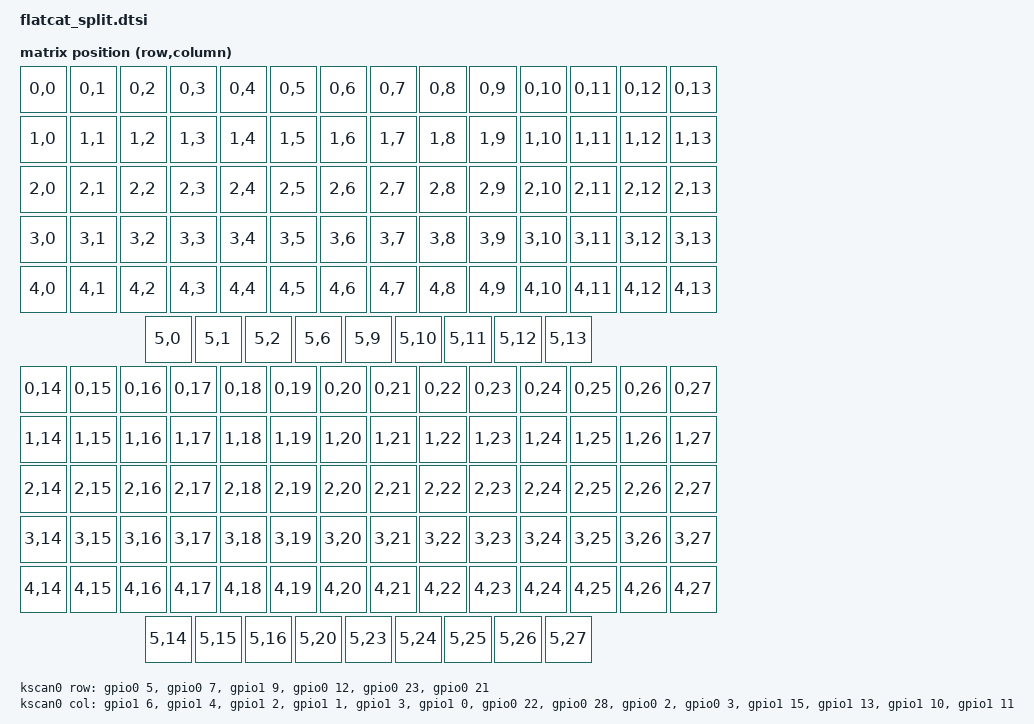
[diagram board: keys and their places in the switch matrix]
#include <dt-bindings/zmk/matrix_transform.h>
#include <physical_layouts.dtsi>
#include <dt-bindings/led/led.h>
#include <zephyr/dt-bindings/gpio/gpio.h>

/ {
    chosen {
        zmk,kscan     = &kscan0;
        zmk,underglow = &led_strip;
        zmk,battery   = &vbatt;
    };

    /* GPIO regulator powering the WS2812 strip (P0.29) — same on both halves. */
    rgb_pro_pwr: rgb_pro_pwr {
        compatible     = "regulator-fixed";
        regulator-name = "rgb_pro_pwr";
        enable-gpios   = <&gpio0 29 GPIO_ACTIVE_LOW>;
        regulator-boot-on;
    };

    kscan0: kscan {
        compatible      = "zmk,kscan-gpio-matrix";
        diode-direction = "col2row";
        wakeup-source;

        row-gpios
            = <&gpio0 5  (GPIO_ACTIVE_HIGH | GPIO_PULL_DOWN)>
            , <&gpio0 7  (GPIO_ACTIVE_HIGH | GPIO_PULL_DOWN)>
            , <&gpio1 9  (GPIO_ACTIVE_HIGH | GPIO_PULL_DOWN)>
            , <&gpio0 12 (GPIO_ACTIVE_HIGH | GPIO_PULL_DOWN)>
            , <&gpio0 23 (GPIO_ACTIVE_HIGH | GPIO_PULL_DOWN)>
            , <&gpio0 21 (GPIO_ACTIVE_HIGH | GPIO_PULL_DOWN)>
            ;

        col-gpios
            = <&gpio1 6  GPIO_ACTIVE_HIGH>
            , <&gpio1 4  GPIO_ACTIVE_HIGH>
            , <&gpio1 2  GPIO_ACTIVE_HIGH>
            , <&gpio1 1  GPIO_ACTIVE_HIGH>
            , <&gpio1 3  GPIO_ACTIVE_HIGH>
            , <&gpio1 0  GPIO_ACTIVE_HIGH>
            , <&gpio0 22 GPIO_ACTIVE_HIGH>
            , <&gpio0 28 GPIO_ACTIVE_HIGH>
            , <&gpio0 2  GPIO_ACTIVE_HIGH>
            , <&gpio0 3  GPIO_ACTIVE_HIGH>
            , <&gpio1 15 GPIO_ACTIVE_HIGH>
            , <&gpio1 13 GPIO_ACTIVE_HIGH>
            , <&gpio1 10 GPIO_ACTIVE_HIGH>
            , <&gpio1 11 GPIO_ACTIVE_HIGH>
            ;
    };

    /* Full 158-key transform, shared by both halves. The right half shifts
       its local matrix into columns 14-27 with col-offset. */
    default_transform: keymap_transform0 {
        compatible = "zmk,matrix-transform";
        columns = <28>;
        rows    = <6>;

        map = <
    RC(0,0) RC(0,1) RC(0,2) RC(0,3) RC(0,4) RC(0,5) RC(0,6) RC(0,7) RC(0,8) RC(0,9) RC(0,10) RC(0,11) RC(0,12) RC(0,13)
    RC(1,0) RC(1,1) RC(1,2) RC(1,3) RC(1,4) RC(1,5) RC(1,6) RC(1,7) RC(1,8) RC(1,9) RC(1,10) RC(1,11) RC(1,12) RC(1,13)
    RC(2,0) RC(2,1) RC(2,2) RC(2,3) RC(2,4) RC(2,5) RC(2,6) RC(2,7) RC(2,8) RC(2,9) RC(2,10) RC(2,11) RC(2,12) RC(2,13)
    RC(3,0) RC(3,1) RC(3,2) RC(3,3) RC(3,4) RC(3,5) RC(3,6) RC(3,7) RC(3,8) RC(3,9) RC(3,10) RC(3,11) RC(3,12) RC(3,13)
    RC(4,0) RC(4,1) RC(4,2) RC(4,3) RC(4,4) RC(4,5) RC(4,6) RC(4,7) RC(4,8) RC(4,9) RC(4,10) RC(4,11) RC(4,12) RC(4,13)
    RC(5,0) RC(5,1) RC(5,2) RC(5,6) RC(5,9) RC(5,10) RC(5,11) RC(5,12) RC(5,13)
    RC(0,14) RC(0,15) RC(0,16) RC(0,17) RC(0,18) RC(0,19) RC(0,20) RC(0,21) RC(0,22) RC(0,23) RC(0,24) RC(0,25) RC(0,26) RC(0,27)
    RC(1,14) RC(1,15) RC(1,16) RC(1,17) RC(1,18) RC(1,19) RC(1,20) RC(1,21) RC(1,22) RC(1,23) RC(1,24) RC(1,25) RC(1,26) RC(1,27)
    RC(2,14) RC(2,15) RC(2,16) RC(2,17) RC(2,18) RC(2,19) RC(2,20) RC(2,21) RC(2,22) RC(2,23) RC(2,24) RC(2,25) RC(2,26) RC(2,27)
    RC(3,14) RC(3,15) RC(3,16) RC(3,17) RC(3,18) RC(3,19) RC(3,20) RC(3,21) RC(3,22) RC(3,23) RC(3,24) RC(3,25) RC(3,26) RC(3,27)
    RC(4,14) RC(4,15) RC(4,16) RC(4,17) RC(4,18) RC(4,19) RC(4,20) RC(4,21) RC(4,22) RC(4,23) RC(4,24) RC(4,25) RC(4,26) RC(4,27)
    RC(5,14) RC(5,15) RC(5,16) RC(5,20) RC(5,23) RC(5,24) RC(5,25) RC(5,26) RC(5,27)
        >;
    };

    leds {
        compatible = "gpio-leds";
        blue_led: led_0 {
            gpios = <&gpio0 10 GPIO_ACTIVE_LOW>;
            label = "Blue LED";
        };
    };

    behaviors {
        rgb_pro: rgbpro {
            compatible     = "zmk,behavior-rgb-pro";
            #binding-cells = <2>;
        };
    };

    vbatt: vbatt {
        compatible  = "zmk,battery-voltage-divider";
        io-channels = <&adc 2>;
        output-ohms = <2000000>;
        full-ohms   = <(2000000 + 806000)>;
    };
};

&pinctrl {
    spi3_default: spi3_default {
        group1 { psels = <NRF_PSEL(SPIM_MOSI, 0, 19)>; };
    };
    spi3_sleep: spi3_sleep {
        group1 { psels = <NRF_PSEL(SPIM_MOSI, 0, 19)>; low-power-enable; };
    };
};

&spi3 {
    compatible    = "nordic,nrf-spim";
    status        = "okay";
    pinctrl-0     = <&spi3_default>;
    pinctrl-1     = <&spi3_sleep>;
    pinctrl-names = "default", "sleep";

    led_strip: ws2812@0 {
        compatible        = "worldsemi,ws2812-spi";
        reg               = <0>;
        spi-max-frequency = <4000000>;
        chain-length      = <79>;
        spi-one-frame     = <0x70>;
        spi-zero-frame    = <0x40>;
        color-mapping     = <LED_COLOR_ID_GREEN LED_COLOR_ID_RED LED_COLOR_ID_BLUE>;
    };
};
